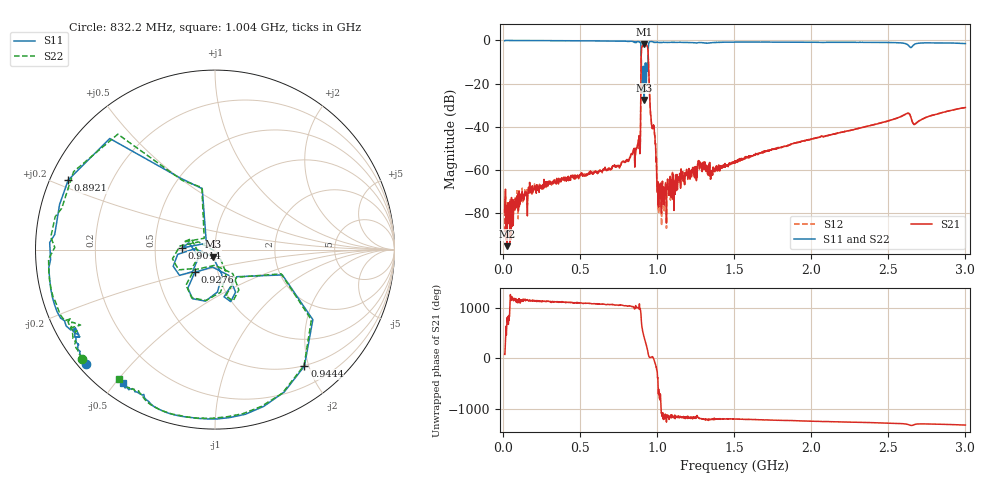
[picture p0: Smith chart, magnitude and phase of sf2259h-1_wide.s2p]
# Hz  S  RI  R  50
! ADVANTEST Corporation R3860A
! Date: Thu May 17 16:00:21 2018
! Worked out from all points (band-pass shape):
!   1601 points, 10 MHz to 3 GHz, reference 50 ohm
!   highest |S21| = -1.79 dB at 916.3 MHz (marker M1); lowest = -95.5 dB at 24.95 MHz (marker M2)
!   |S21| within 3 dB of the highest: 897.8 MHz to 940.8 MHz (42.94 MHz wide, 4.67 % of centre)
!   lowest |S11| = -27.6 dB at 916.3 MHz (marker M3), VSWR 1.09, Z = 48.6 - j3.85 ohm
!   |S11| at or under -10 dB: 897.8 MHz to 940 MHz (42.27 MHz wide, 4.6 % of centre)
!   |S22| runs from -33.2 to 0.0 dB; largest |S21 - S12| = 0.0028
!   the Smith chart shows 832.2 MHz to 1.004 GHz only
!   S11 on the Smith chart (normalised r, x): 832.2 MHz: 0.02, -0.38; 892 MHz: 0.05, +0.22; 901.4 MHz: 0.69, +0.01; 927.6 MHz: 0.77, -0.20; 944.4 MHz: 0.49, -1.93; 1.004 GHz: 0.06, -0.52
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1e7  0.9835 -0.024  2.21e-05 0.000104  8.91e-05 3.79e-05  0.9966 -0.0322
2.495e7  0.9986 -0.073  1.31e-05 1.04e-05  -5.83e-05 -4.24e-06  0.997 -0.0739
1.856625e8  0.8536 -0.5151  0.000193 0.000286  0.00019 0.000342  0.8489 -0.5172
5.089562e8  0.1353 -0.9717  0.000814 0.0002  0.000838 0.000164  0.1231 -0.9724
8.3225e8  -0.7161 -0.6399  0.00137 -0.0019  0.00135 -0.00187  -0.7388 -0.6072
8.771e8  -0.9056 -0.2672  0.000701 -0.00454  0.000718 -0.00456  -0.9137 -0.2179
8.9205e8  -0.8176 0.3882  -0.00766 -0.00751  -0.00764 -0.00755  -0.788 0.4341
9.013938e8  -0.1826 0.00923  -0.1515 -0.7022  -0.1517 -0.7009  -0.1748 0.0424
9.088688e8  -0.1976 -0.1433  -0.5252 0.534  -0.5231 0.5333  -0.2023 -0.1128
9.163438e8  -0.013 -0.0396  0.5819 0.5692  0.5801 0.5695  0.0141 -0.0166
9.275562e8  -0.1127 -0.1264  0.2062 -0.7757  0.2058 -0.7738  -0.1169 -0.1127
9.44375e8  0.4983 -0.6489  0.1471 0.2105  0.1468 0.2106  0.4965 -0.6451
9.611938e8  -0.1804 -0.9299  0.0127 0.0053  0.0126 0.00524  -0.2032 -0.9227
1.004175e9  -0.5132 -0.7453  0.000491 -0.000182  0.000517 -0.000217  -0.5355 -0.7221
1.007912e9  -0.5222 -0.7374  0.000341 8.29e-05  0.000348 6.9e-05  -0.5489 -0.7054
1.020994e9  -0.5492 -0.7109  0.000486 5.57e-05  0.000467 4.76e-05  -0.5821 -0.6837
1.275144e9  -0.8439 -0.3027  -0.000385 -0.000959  -0.000379 -0.000951  -0.8545 -0.2439
1.346156e9  -0.8516 -0.2219  -0.000366 -0.00048  -0.000323 -0.000503  -0.8592 -0.1625
1.505e9  -0.9158 0.00778  -0.000731 -0.00128  -0.000752 -0.00125  -0.9061 0.0844
2.003956e9  -0.6782 0.6059  -0.00487 -0.00148  -0.00491 -0.00157  -0.5901 0.6808
2.502912e9  -0.1534 0.8854  -0.013 0.00455  -0.013 0.00453  -0.00836 0.895
3e9  0.3624 0.766  -0.0146 0.0236  -0.0144 0.0235  0.4964 0.6868
